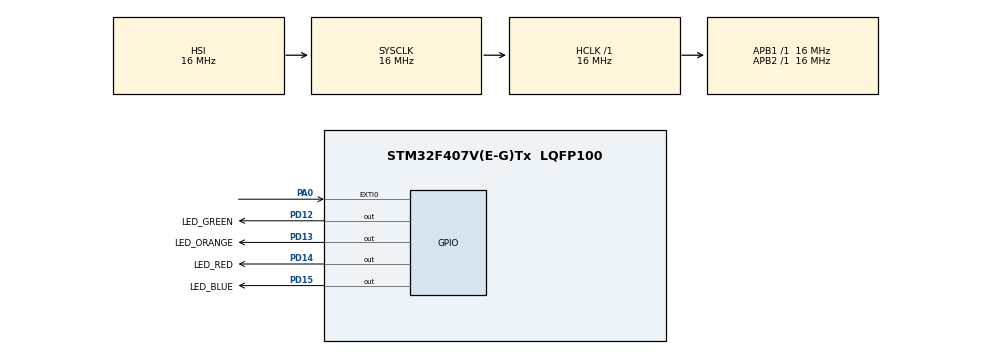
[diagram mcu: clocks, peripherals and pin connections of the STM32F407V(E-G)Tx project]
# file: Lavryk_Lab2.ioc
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Mcu.Family=STM32F4
Mcu.Name=STM32F407V(E-G)Tx
Mcu.Package=LQFP100
NVIC.EXTI0_IRQn=true\:0\:0\:false\:false\:true\:true\:true\:true
NVIC.PriorityGroup=NVIC_PRIORITYGROUP_4
NVIC.TIM2_IRQn=true\:0\:0\:false\:false\:true\:true\:true\:true
PA0-WKUP.Signal=GPXTI0
PD12.GPIO_Label=LED_GREEN
PD12.Signal=GPIO_Output
PD13.GPIO_Label=LED_ORANGE
PD13.Signal=GPIO_Output
PD14.GPIO_Label=LED_RED
PD14.Signal=GPIO_Output
PD15.GPIO_Label=LED_BLUE
PD15.Signal=GPIO_Output
ProjectManager.HeapSize=0x200
ProjectManager.StackSize=0x400
ProjectManager.TargetToolchain=STM32CubeIDE
RCC.AHBFreq_Value=16000000
RCC.APB1Freq_Value=16000000
RCC.APB2Freq_Value=16000000
RCC.CortexFreq_Value=16000000
RCC.HSE_VALUE=25000000
RCC.HSI_VALUE=16000000
RCC.LSE_VALUE=32768
RCC.SYSCLKFreq_VALUE=16000000
RCC.VCOOutputFreq_Value=192000000
TIM2.AutoReloadPreload=TIM_AUTORELOAD_PRELOAD_ENABLE
TIM2.Period=5000
TIM2.Prescaler=8399
VP_TIM2_VS_ClockSourceINT.Mode=Internal
board=custom

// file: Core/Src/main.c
/* USER CODE BEGIN Header */
/**
  ******************************************************************************
  * @file           : main.c
  * @brief          : Main program body
  ******************************************************************************
  * @attention
  *
  * Copyright (c) 2025 STMicroelectronics.
  * All rights reserved.
  *
  * This software is licensed under terms that can be found in the LICENSE file
  * in the root directory of this software component.
  * If no LICENSE file comes with this software, it is provided AS-IS.
  *
  ******************************************************************************
  */
/* USER CODE END Header */
#include "main.h"

/* USER CODE BEGIN PTD */

#define LED_SWITCH_DELAY	(500)

/* USER CODE END PTD */

TIM_HandleTypeDef htim2;

/* USER CODE BEGIN PV */

unsigned int ledN = 0;

/* USER CODE END PV */

void SystemClock_Config(void);
static void MX_GPIO_Init(void);
static void MX_TIM2_Init(void);

int main(void)
{

  /* MCU Configuration--------------------------------------------------------*/

  /* Reset of all peripherals, Initializes the Flash interface and the Systick. */
  HAL_Init();

  /* Configure the system clock */
  SystemClock_Config();

  /* Initialize all configured peripherals */
  MX_GPIO_Init();
  MX_TIM2_Init();
  /* USER CODE BEGIN 2 */
  HAL_TIM_Base_Start_IT(&htim2);
  /* USER CODE END 2 */

  /* Infinite loop */
  /* USER CODE BEGIN WHILE */
  while (1)
  {
	  if (ledN == 0) {
	  	HAL_GPIO_WritePin(GPIOD, LED_GREEN_Pin, GPIO_PIN_SET);
	  	HAL_Delay(LED_SWITCH_DELAY);
	  	HAL_GPIO_WritePin(GPIOD, LED_GREEN_Pin, GPIO_PIN_RESET);
	  	HAL_GPIO_WritePin(GPIOD, LED_ORANGE_Pin, GPIO_PIN_SET);
	  	HAL_Delay(LED_SWITCH_DELAY);
	  	HAL_GPIO_WritePin(GPIOD, LED_ORANGE_Pin, GPIO_PIN_RESET);
	  	HAL_GPIO_WritePin(GPIOD, LED_RED_Pin, GPIO_PIN_SET);
	  	HAL_Delay(LED_SWITCH_DELAY);
	  	HAL_GPIO_WritePin(GPIOD, LED_RED_Pin, GPIO_PIN_RESET);
	  	HAL_GPIO_WritePin(GPIOD, LED_BLUE_Pin, GPIO_PIN_SET);
	  	HAL_Delay(LED_SWITCH_DELAY);
	  	HAL_GPIO_WritePin(GPIOD, LED_BLUE_Pin, GPIO_PIN_RESET);
	  }
	  if (ledN == 1) {
		HAL_GPIO_WritePin(GPIOD, LED_GREEN_Pin, GPIO_PIN_SET);
		HAL_Delay(LED_SWITCH_DELAY);
		HAL_GPIO_WritePin(GPIOD, LED_GREEN_Pin, GPIO_PIN_RESET);
		HAL_GPIO_WritePin(GPIOD, LED_RED_Pin, GPIO_PIN_SET);
		HAL_Delay(LED_SWITCH_DELAY);
		HAL_GPIO_WritePin(GPIOD, LED_RED_Pin, GPIO_PIN_RESET);
		HAL_GPIO_WritePin(GPIOD, LED_BLUE_Pin, GPIO_PIN_SET);
		HAL_Delay(LED_SWITCH_DELAY);
		HAL_GPIO_WritePin(GPIOD, LED_BLUE_Pin, GPIO_PIN_RESET);
		HAL_GPIO_WritePin(GPIOD, LED_ORANGE_Pin, GPIO_PIN_SET);
		HAL_Delay(LED_SWITCH_DELAY);
		HAL_GPIO_WritePin(GPIOD, LED_ORANGE_Pin, GPIO_PIN_RESET);
	  }
	  if (ledN == 2) {
	  	HAL_GPIO_WritePin(GPIOD, LED_BLUE_Pin, GPIO_PIN_SET);
	  	HAL_Delay(LED_SWITCH_DELAY);
	  	HAL_GPIO_WritePin(GPIOD, LED_BLUE_Pin, GPIO_PIN_RESET);
	  	HAL_GPIO_WritePin(GPIOD, LED_RED_Pin, GPIO_PIN_SET);
	  	HAL_Delay(LED_SWITCH_DELAY);
	  	HAL_GPIO_WritePin(GPIOD, LED_RED_Pin, GPIO_PIN_RESET);
	  	HAL_GPIO_WritePin(GPIOD, LED_ORANGE_Pin, GPIO_PIN_SET);
	  	HAL_Delay(LED_SWITCH_DELAY);
	  	HAL_GPIO_WritePin(GPIOD, LED_ORANGE_Pin, GPIO_PIN_RESET);
	  	HAL_GPIO_WritePin(GPIOD, LED_GREEN_Pin, GPIO_PIN_SET);
	  	HAL_Delay(LED_SWITCH_DELAY);
	  	HAL_GPIO_WritePin(GPIOD, LED_GREEN_Pin, GPIO_PIN_RESET);
	  }
	  if (ledN == 3) {
	  	HAL_GPIO_WritePin(GPIOD, LED_GREEN_Pin, GPIO_PIN_SET);
	  	HAL_GPIO_WritePin(GPIOD, LED_RED_Pin, GPIO_PIN_SET);
	  	HAL_Delay(LED_SWITCH_DELAY);
	  	HAL_GPIO_WritePin(GPIOD, LED_GREEN_Pin, GPIO_PIN_RESET);
	  	HAL_GPIO_WritePin(GPIOD, LED_RED_Pin, GPIO_PIN_RESET);
	  	HAL_GPIO_WritePin(GPIOD, LED_ORANGE_Pin, GPIO_PIN_SET);
	  	HAL_GPIO_WritePin(GPIOD, LED_BLUE_Pin, GPIO_PIN_SET);
	  	HAL_Delay(LED_SWITCH_DELAY);
	  	HAL_GPIO_WritePin(GPIOD, LED_ORANGE_Pin, GPIO_PIN_RESET);
	  	HAL_GPIO_WritePin(GPIOD, LED_BLUE_Pin, GPIO_PIN_RESET);
	  }
    /* USER CODE END WHILE */

  }
}

void SystemClock_Config(void)
{
  RCC_OscInitTypeDef RCC_OscInitStruct = {0};
  RCC_ClkInitTypeDef RCC_ClkInitStruct = {0};

  /** Configure the main internal regulator output voltage
  */
  __HAL_RCC_PWR_CLK_ENABLE();
  __HAL_PWR_VOLTAGESCALING_CONFIG(PWR_REGULATOR_VOLTAGE_SCALE1);

  /** Initializes the RCC Oscillators according to the specified parameters
  * in the RCC_OscInitTypeDef structure.
  */
  RCC_OscInitStruct.OscillatorType = RCC_OSCILLATORTYPE_HSI;
  RCC_OscInitStruct.HSIState = RCC_HSI_ON;
  RCC_OscInitStruct.HSICalibrationValue = RCC_HSICALIBRATION_DEFAULT;
  RCC_OscInitStruct.PLL.PLLState = RCC_PLL_NONE;
  if (HAL_RCC_OscConfig(&RCC_OscInitStruct) != HAL_OK)
  {
    Error_Handler();
  }

  /** Initializes the CPU, AHB and APB buses clocks
  */
  RCC_ClkInitStruct.ClockType = RCC_CLOCKTYPE_HCLK|RCC_CLOCKTYPE_SYSCLK
                              |RCC_CLOCKTYPE_PCLK1|RCC_CLOCKTYPE_PCLK2;
  RCC_ClkInitStruct.SYSCLKSource = RCC_SYSCLKSOURCE_HSI;
  RCC_ClkInitStruct.AHBCLKDivider = RCC_SYSCLK_DIV1;
  RCC_ClkInitStruct.APB1CLKDivider = RCC_HCLK_DIV1;
  RCC_ClkInitStruct.APB2CLKDivider = RCC_HCLK_DIV1;

  if (HAL_RCC_ClockConfig(&RCC_ClkInitStruct, FLASH_LATENCY_0) != HAL_OK)
  {
    Error_Handler();
  }
}

static void MX_TIM2_Init(void)
{

  TIM_ClockConfigTypeDef sClockSourceConfig = {0};
  TIM_MasterConfigTypeDef sMasterConfig = {0};

  htim2.Instance = TIM2;
  htim2.Init.Prescaler = 8399;
  htim2.Init.CounterMode = TIM_COUNTERMODE_UP;
  htim2.Init.Period = 5000;
  htim2.Init.ClockDivision = TIM_CLOCKDIVISION_DIV1;
  htim2.Init.AutoReloadPreload = TIM_AUTORELOAD_PRELOAD_ENABLE;
  if (HAL_TIM_Base_Init(&htim2) != HAL_OK)
  {
    Error_Handler();
  }
  sClockSourceConfig.ClockSource = TIM_CLOCKSOURCE_INTERNAL;
  if (HAL_TIM_ConfigClockSource(&htim2, &sClockSourceConfig) != HAL_OK)
  {
    Error_Handler();
  }
  sMasterConfig.MasterOutputTrigger = TIM_TRGO_RESET;
  sMasterConfig.MasterSlaveMode = TIM_MASTERSLAVEMODE_DISABLE;
  if (HAL_TIMEx_MasterConfigSynchronization(&htim2, &sMasterConfig) != HAL_OK)
  {
    Error_Handler();
  }

}

static void MX_GPIO_Init(void)
{
  GPIO_InitTypeDef GPIO_InitStruct = {0};

  /* GPIO Ports Clock Enable */
  __HAL_RCC_GPIOA_CLK_ENABLE();
  __HAL_RCC_GPIOD_CLK_ENABLE();

  /*Configure GPIO pin Output Level */
  HAL_GPIO_WritePin(GPIOD, LED_GREEN_Pin|LED_ORANGE_Pin|LED_RED_Pin|LED_BLUE_Pin, GPIO_PIN_RESET);

  /*Configure GPIO pin : PA0 */
  GPIO_InitStruct.Pin = GPIO_PIN_0;
  GPIO_InitStruct.Mode = GPIO_MODE_IT_RISING;
  GPIO_InitStruct.Pull = GPIO_NOPULL;
  HAL_GPIO_Init(GPIOA, &GPIO_InitStruct);

  /*Configure GPIO pins : LED_GREEN_Pin LED_ORANGE_Pin LED_RED_Pin LED_BLUE_Pin */
  GPIO_InitStruct.Pin = LED_GREEN_Pin|LED_ORANGE_Pin|LED_RED_Pin|LED_BLUE_Pin;
  GPIO_InitStruct.Mode = GPIO_MODE_OUTPUT_PP;
  GPIO_InitStruct.Pull = GPIO_NOPULL;
  GPIO_InitStruct.Speed = GPIO_SPEED_FREQ_LOW;
  HAL_GPIO_Init(GPIOD, &GPIO_InitStruct);

  /* EXTI interrupt init*/
  HAL_NVIC_SetPriority(EXTI0_IRQn, 0, 0);
  HAL_NVIC_EnableIRQ(EXTI0_IRQn);

}

void Error_Handler(void)
{
  __disable_irq();
  while (1)
  {
  }
}
